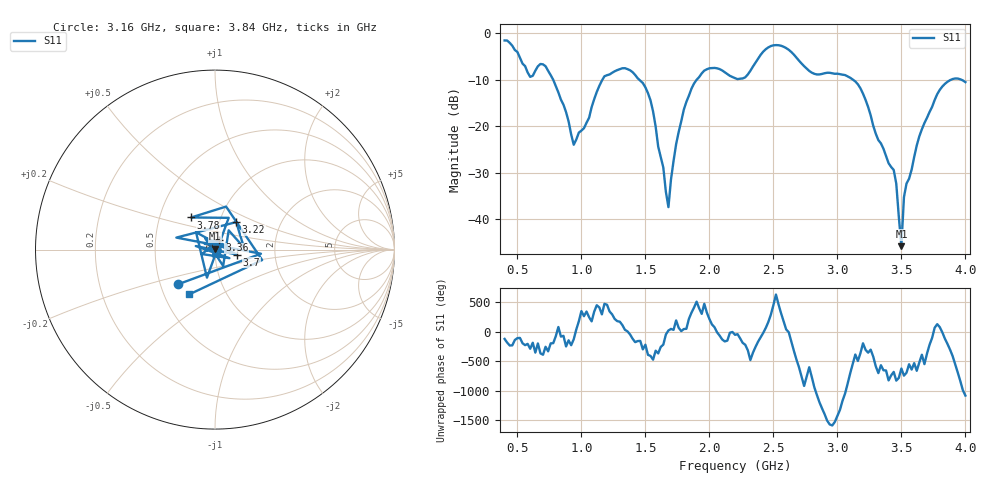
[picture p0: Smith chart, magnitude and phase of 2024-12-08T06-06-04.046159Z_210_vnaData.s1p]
!Created with skrf (http://scikit-rf.org).
# Hz S RI R 50.0
!freq ReS11 ImS11
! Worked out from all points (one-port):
!   181 points, 400 MHz to 4 GHz, reference 50 ohm
!   lowest |S11| = -45.7 dB at 3.5 GHz (marker M1), VSWR 1.01, Z = 49.9 + j0.514 ohm
!   |S11| at or under -10 dB: 780.4 MHz to 1.163 GHz (382.7 MHz wide, 39.4 % of centre); 1.454 GHz to 1.899 GHz (444.9 MHz wide, 26.5 % of centre); 3.125 GHz to 3.884 GHz (759.2 MHz wide, 21.7 % of centre) (the widest 3 of 4)
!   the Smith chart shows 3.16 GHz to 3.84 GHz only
!   S11 on the Smith chart (normalised r, x): 3.16 GHz: 0.61, -0.26; 3.22 GHz: 1.20, +0.38; 3.36 GHz: 1.04, +0.11; 3.7 GHz: 1.27, -0.07; 3.78 GHz: 0.72, +0.27; 3.84 GHz: 0.67, -0.36
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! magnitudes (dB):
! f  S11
! 400 MHz  -1.5
! 600 MHz  -9.3
! 720 MHz  -7.0
! 860 MHz  -15.3
! 940 MHz  -23.9
! 1.18 GHz  -9.2
! 1.3 GHz  -7.7
! 1.54 GHz  -14.4
! 1.68 GHz  -37.3
! 1.76 GHz  -21.2
! 1.86 GHz  -11.9
! 1.96 GHz  -8.0
! 2.2 GHz  -9.6
! 2.48 GHz  -2.7
! 2.66 GHz  -4.6
! 2.82 GHz  -8.7
! 3.1 GHz  -9.5
! 3.16 GHz  -10.9
! 3.22 GHz  -14.3
! 3.36 GHz  -24.8
! 3.46 GHz  -32.3
! 3.5 GHz  -45.7
! 3.52 GHz  -35.2
! 3.56 GHz  -31.2
! 3.7 GHz  -18.1
! 3.78 GHz  -13.0
! 3.84 GHz  -10.8
! 4 GHz  -10.5
